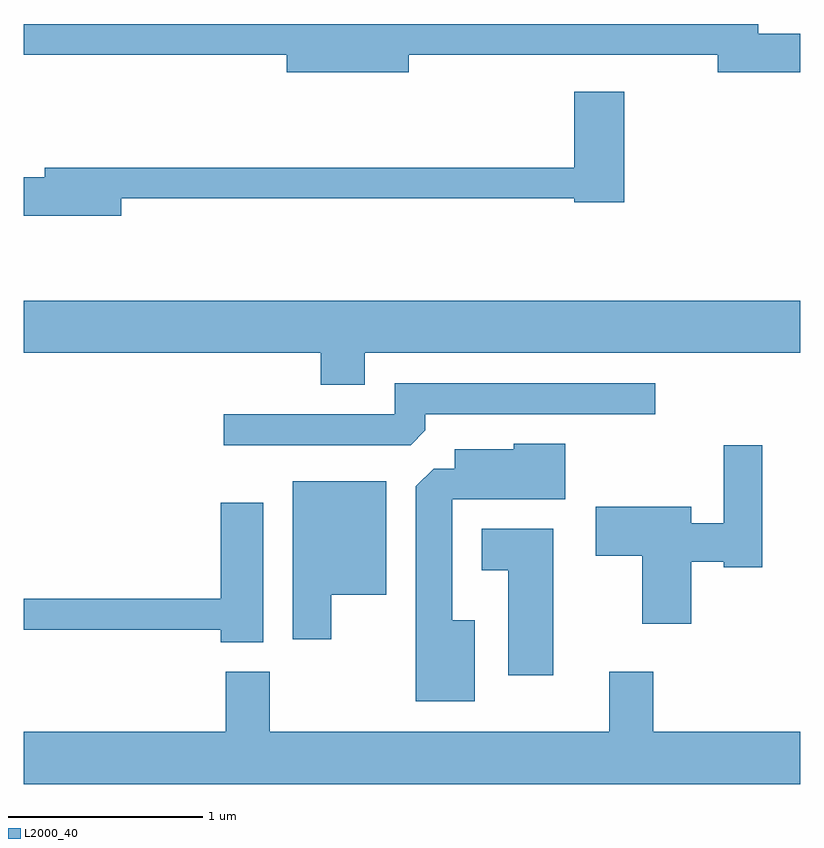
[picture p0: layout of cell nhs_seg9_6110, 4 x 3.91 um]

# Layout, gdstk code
import gdstk
lib = gdstk.Library(unit=1e-6, precision=1e-09)
def P(c, l, *ps):  # polygons
    for p in ps: c.add(gdstk.Polygon(p, *l))
L2000_40 = (2000, 40)

nhs_seg9_6110 = lib.new_cell('nhs_seg9_6110')
P(nhs_seg9_6110, L2000_40, [(367.594,2002.231),(369.186,2002.231),(369.186,2002.141),(369.611,2002.141),(369.611,2002.339),(369.394,2002.339),(369.394,2002.389),(365.611,2002.389),(365.611,2002.231),(366.966,2002.231),(366.966,2002.141),(367.594,2002.141)],
  [(366.114,2001.491),(368.446,2001.491),(368.446,2001.471),(368.704,2001.471),(368.704,2002.039),(368.446,2002.039),(368.446,2001.649),(365.721,2001.649),(365.721,2001.599),(365.611,2001.599),(365.611,2001.401),(366.114,2001.401)],
  [(367.369,2000.696),(369.611,2000.696),(369.611,2000.964),(365.611,2000.964),(365.611,2000.696),(367.141,2000.696),(367.141,2000.531),(367.369,2000.531)],
  [(367.679,2000.297),(367.679,2000.381),(368.863,2000.381),(368.863,2000.539),(367.521,2000.539),(367.521,2000.379),(366.643,2000.379),(366.643,2000.221),(367.604,2000.221)],
  [(367.934,1999.319),(367.819,1999.319),(367.819,1999.941),(368.399,1999.941),(368.399,2000.229),(368.136,2000.229),(368.136,2000.199),(367.831,2000.199),(367.831,2000.099),(367.722,2000.099),(367.631,2000.009),(367.631,1998.901),(367.934,1998.901)],
  [(369.049,1999.621),(369.216,1999.621),(369.216,1999.591),(369.414,1999.591),(369.414,2000.219),(369.216,2000.219),(369.216,1999.819),(369.049,1999.819),(369.049,1999.904),(368.556,1999.904),(368.556,1999.651),(368.796,1999.651),(368.796,1999.301),(369.049,1999.301)],
  [(367.194,1999.451),(367.479,1999.451),(367.479,2000.034),(366.996,2000.034),(366.996,1999.221),(367.194,1999.221)],
  [(366.844,1999.924),(366.626,1999.924),(366.626,1999.429),(365.611,1999.429),(365.611,1999.271),(366.626,1999.271),(366.626,1999.206),(366.844,1999.206)],
  [(368.339,1999.789),(367.971,1999.789),(367.971,1999.576),(368.106,1999.576),(368.106,1999.036),(368.339,1999.036)],
  [(369.611,1998.744),(368.854,1998.744),(368.854,1999.054),(368.626,1999.054),(368.626,1998.744),(366.879,1998.744),(366.879,1999.054),(366.651,1999.054),(366.651,1998.744),(365.611,1998.744),(365.611,1998.476),(369.611,1998.476)])

lib.write_gds('nhs_seg9_6110.gds')
